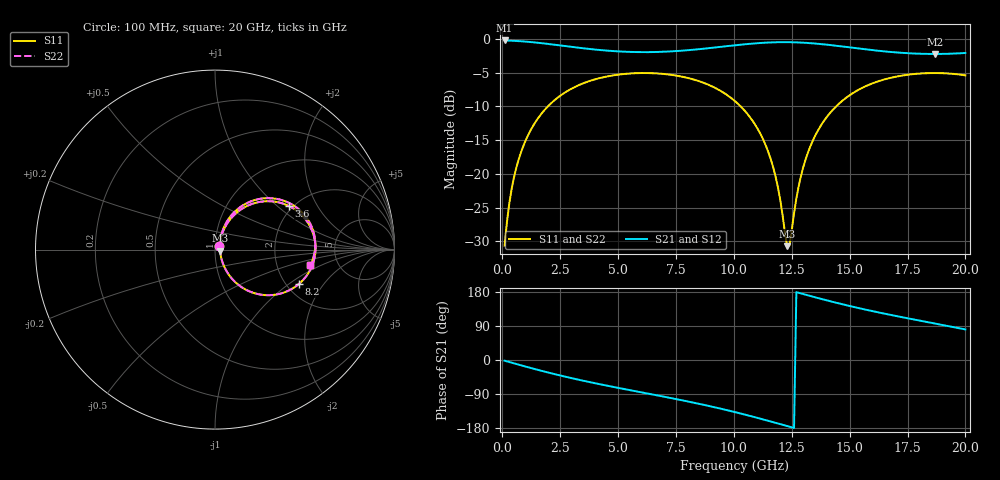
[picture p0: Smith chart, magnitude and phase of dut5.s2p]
! Touchstone file exported from HFSS 2026.1.0
!  File:  C:/ffzhzh/LocalFiles/Ansys_Project_Files/temp_val_TSV_RDL_5_1782975650_45308.aedt
!  Generated:  03:13:07 PM Jul  2, 2026
!  Design:  TSV_RDL
!  Project:  temp_val_TSV_RDL_5_1782975650_45308
! Variables:
!  h_bsmrdl = 4um
!  h_ox = 20um
!  h_rdl = 5um
!  h_sub = 83.3um
!  h_tmrdl = 5.7um
!  h_tsv = 83.3um
!  h_via = 3um
!  l_bsmrdl = 735.41um
!  l_sub = 4513.63um
!  l_tmrdl = 456.21um
!  m_sub = 200um
!  pitch = 48.6um
!  r_tsv = 14.2um
!  s_tmrdl = 10um
!  w_bsmrdl = 14.97um
!  w_sub = 500um
!  w_tmrdl = 12.55um
!  x_tsv_center1 = 462.485um
!  x_tsv_center2 = 1212.865um
!  x_tsv_center3 = 1681.625um
!  x_tsv_center4 = 2432.005um
!  x_tsv_center5 = 2900.765um
!  x_tsv_center6 = 3651.145um
# GHz S MA R 50.000000
! Terminal data exported
! Port[1] = TM_RDL1_1_T1
! Port[2] = TM_RDL5_1_T1
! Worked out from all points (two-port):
!   200 points, 100 MHz to 20 GHz, reference 50 ohm
!   highest |S21| = -0.20 dB at 100 MHz (marker M1); lowest = -2.2 dB at 18.7 GHz (marker M2)
!   |S21| within 3 dB of the highest: start of sweep to end of sweep
!   lowest |S11| = -30.7 dB at 12.3 GHz (marker M3), VSWR 1.06, Z = 52.9 - j0.629 ohm
!   |S11| at or under -10 dB: start of sweep to 1.967 GHz; 10.3 GHz to 14.41 GHz (4.116 GHz wide, 33.3 % of centre)
!   |S22| runs from -30.8 to -5.0 dB; largest |S21 - S12| = 1.5e-14
!   S11 on the Smith chart (normalised r, x): 100 MHz: 1.05, +0.04; 3.6 GHz: 1.90, +1.20; 8.2 GHz: 2.32, -1.20; 20 GHz: 3.12, -0.77
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0.1  0.02936 37.8  0.9772 -1.8  0.9772 -1.8  0.02936 37.8
! Gamma 0 0 0 0
! Port Impedance 50 0 50 0
0.3  0.05992 61.2  0.9747 -5.3  0.9747 -5.3  0.05992 61.2
0.5  0.0933 65.8  0.9711 -8.8  0.9711 -8.8  0.0933 65.8
1.1  0.1915 63.1  0.9554 -19.0  0.9554 -19.0  0.1915 63.1
2.1  0.3332 50.4  0.9155 -34.9  0.9155 -34.9  0.3332 50.4
3.5  0.4702 32.0  0.8545 -54.8  0.8545 -54.8  0.4702 32.0
3.6  0.4773 30.7  0.8506 -56.1  0.8506 -56.1  0.4773 30.7
5.2  0.5497 11.8  0.8075 -75.9  0.8075 -75.9  0.5497 11.8
6.8  0.5545 -6.2  0.8038 -94.7  0.8038 -94.7  0.5545 -6.2
8.2  0.5049 -22.4  0.8324 -111.8  0.8324 -111.8  0.5049 -22.4
10.1  0.3406 -46.4  0.9017 -138.2  0.9017 -138.2  0.3406 -46.4
10.9  0.2345 -56.5  0.9292 -150.8  0.9292 -150.8  0.2345 -56.5
11.5  0.1433 -61.7  0.9434 -160.7  0.9434 -160.7  0.1433 -61.7
11.9  0.08003 -59.1  0.9484 -167.4  0.9484 -167.4  0.08003 -59.1
12.3  0.02904 -11.8  0.9493 -174.2  0.9493 -174.2  0.02894 -11.9
12.4  0.02936 20.1  0.9488 -175.9  0.9488 -175.9  0.02925 20.1
12.9  0.0966 67.2  0.9427 175.6  0.9427 175.6  0.09653 67.3
13.4  0.1747 66.7  0.9305 167.3  0.9305 167.3  0.1747 66.8
14.7  0.3503 51.6  0.881 146.9  0.881 146.9  0.3503 51.7
16.7  0.5124 27.1  0.8046 119.8  0.8046 119.8  0.5123 27.2
18.7  0.56 4.9  0.7757 96.0  0.7757 96.0  0.56 5.0
20  0.5382 -9.4  0.789 80.7  0.789 80.7  0.5381 -9.3
